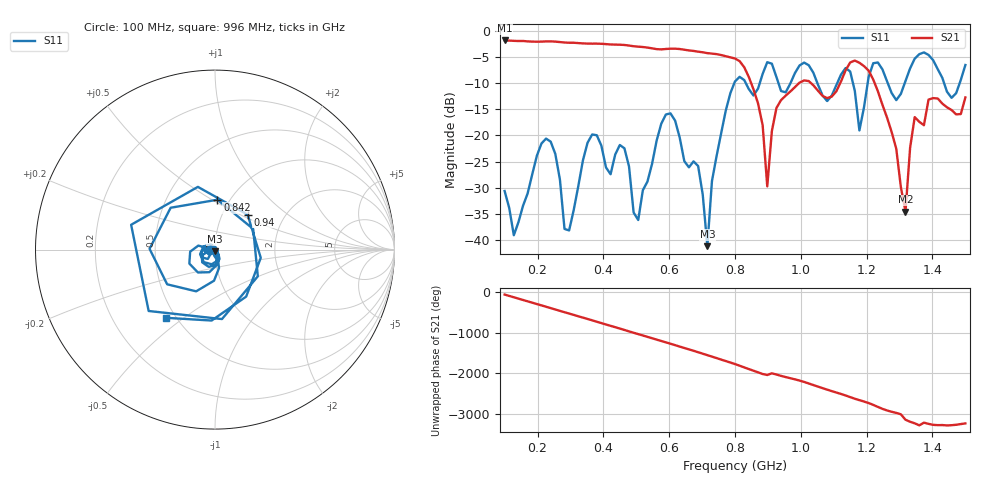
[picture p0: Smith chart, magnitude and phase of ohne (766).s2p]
! NanoVNA-App
! Date: 2025-09-25 14:26:46
! Start: 100MHz Stop: 1,5GHz Points: 101
! S-Parameter data: F S11 S21 S12 S22
# Hz S RI R 50
!  Frequency  S11_Real  S11_Imag  S21_Real  S21_Imag  S12_Real  S12_Imag  S22_Real  S22_Imag
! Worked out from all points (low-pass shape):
!   101 points, 100 MHz to 1.5 GHz, reference 50 ohm
!   highest |S21| = -1.79 dB at 100 MHz (marker M1); lowest = -34.6 dB at 1.318 GHz (marker M2)
!   |S21| within 3 dB of the highest: start of sweep to 770.8 MHz
!   lowest |S11| = -41.2 dB at 716 MHz (marker M3), VSWR 1.02, Z = 49.8 - j0.848 ohm
!   |S11| at or under -10 dB: start of sweep to 797.8 MHz; 833 MHz to 875.1 MHz (42.03 MHz wide, 4.92 % of centre); 1.05 GHz to 1.11 GHz (59.91 MHz wide, 5.55 % of centre)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
!   S12 and S22 are empty: the file has one direction only
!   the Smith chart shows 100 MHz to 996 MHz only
!   S11 on the Smith chart (normalised r, x): 100 MHz: 0.94, -0.01; 842 MHz: 0.88, +0.53; 940 MHz: 1.31, +0.55; 996 MHz: 0.44, -0.43
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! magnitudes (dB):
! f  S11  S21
! 100 MHz  -30.6  -1.8
! 128 MHz  -39.1  -1.9
! 226 MHz  -20.6  -2.0
! 296 MHz  -38.2  -2.2
! 338 MHz  -24.8  -2.4
! 464 MHz  -22.4  -2.7
! 506 MHz  -36.2  -3.0
! 576 MHz  -17.7  -3.5
! 688 MHz  -25.8  -3.9
! 716 MHz  -41.2  -4.2
! 800 MHz  -9.6  -5.3
! 842 MHz  -11.1  -8.8
! 898 MHz  -6.0  -29.8
! 940 MHz  -11.5  -13.2
! 996 MHz  -6.6  -9.9
! 1.038 GHz  -8.0  -10.4
! 1.178 GHz  -19.0  -6.1
! 1.22 GHz  -6.2  -9.3
! 1.276 GHz  -11.9  -19.3
! 1.318 GHz  -9.6  -34.6
! 1.346 GHz  -5.3  -16.5
! 1.5 GHz  -6.5  -12.7
